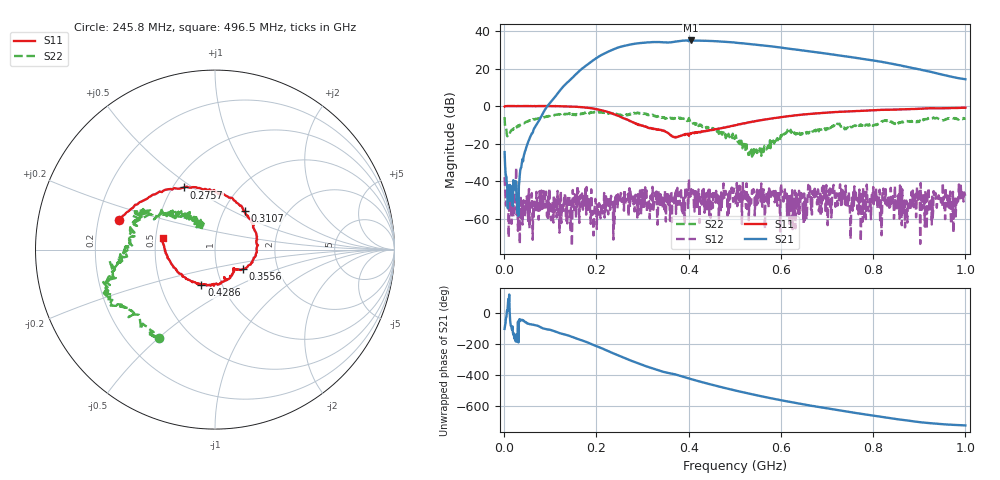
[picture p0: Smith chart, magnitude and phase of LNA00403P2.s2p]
! Created with skrf 1.9.0 (http://scikit-rf.org).
# Hz S RI R 50.0
!freq ReS11 ImS11 ReS21 ImS21 ReS12 ImS12 ReS22 ImS22
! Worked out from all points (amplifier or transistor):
!   1001 points, 1 MHz to 1 GHz, reference 50 ohm
!   highest |S21| = 34.9 dB at 404.6 MHz (marker M1)
!   |S21| within 3 dB of that: 258.7 MHz to 573.8 MHz (315.1 MHz wide, 75.7 % of centre)
!   unconditionally stable (mu >= 1): 189.5 MHz to 294.6 MHz; 321.8 MHz to 400.4 MHz; 400.7 MHz to end of sweep (the widest 3 of 43)
!   at 166.8 MHz: K = 1.88, MAG = 31.1 dB, |S12| = -53.4 dB
!   at 500.5 MHz: K = 2.36, MAG = 34.5 dB, |S12| = -48.2 dB
!   at 1 GHz: K = 3.95, MAG = 22.6 dB, |S12| = -48.7 dB
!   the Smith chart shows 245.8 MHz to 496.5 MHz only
!   S11 on the Smith chart (normalised r, x): 245.8 MHz: 0.29, +0.14; 275.7 MHz: 0.57, +0.46; 310.7 MHz: 1.26, +0.58; 355.6 MHz: 1.33, -0.30; 428.6 MHz: 0.80, -0.33; 496.5 MHz: 0.55, +0.08
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1000000  0.9751 -0.0112  -0.0129 -0.0582  -0.0125 0.0029  0.3821 0.3385
1.08892e8  0.5271 -0.8471  -0.7698 -1.492  -0.00153 -0.000259  0.4224 -0.3759
1.67833e8  -0.216 -0.9105  -9.66 -0.7525  0.00248 0.00159  0.041 -0.6352
2.11789e8  -0.679 -0.3727  -15.53 17.22  0.000206 0.00209  -0.215 -0.6301
2.45755e8  -0.5334 0.165  0.7813 35.66  0.00101 0.00161  -0.3116 -0.4898
2.75725e8  -0.1712 0.3465  27.27 34.75  -0.00328 0.00131  -0.5429 -0.3043
3.1069e8  0.1678 0.2134  47.89 11.88  0.00118 0.00273  -0.5582 -0.143
3.34666e8  0.2397 0.0253  49.87 -8.466  -0.00496 0.0025  -0.5276 -0.0255
3.55645e8  0.1563 -0.1093  44.42 -21.86  -0.00193 0.00141  -0.466 0.0722
3.78622e8  0.1041 -0.1169  39.8 -36.04  0.00171 0.00279  -0.4469 0.214
4.04596e8  0.036 -0.1788  23.28 -50.79  0.00338 -0.00113  -0.3405 0.1685
4.28572e8  -0.0755 -0.1983  4.968 -55.11  -0.000123 0.00238  -0.2193 0.2098
4.59541e8  -0.2143 -0.1132  -17.46 -50.4  0.00529 0.00165  -0.1486 0.1836
4.96504e8  -0.2909 0.0641  -35.4 -34.33  0.00239 -0.00151  -0.0872 0.1408
5.005e8  -0.2986 0.0836  -37.12 -32.43  0.00076 0.00381  -0.0789 0.1274
5.4046e8  -0.2454 0.2978  -42.39 -11.06  0.00496 -0.00368  -0.0432 0.029
5.88412e8  -0.0647 0.4805  -36.32 9.891  0.00489 -0.00252  -0.0848 -0.077
6.67333e8  0.3134 0.5396  -14.71 23.73  -0.000905 -0.000924  -0.2184 -0.0678
7.53247e8  0.6244 0.3751  3.383 19.69  0.00132 -0.00218  -0.2722 -0.0151
8.34166e8  0.7867 0.1429  9.977 9.648  -0.00041 -0.00213  -0.3947 0.00255
9.09091e8  0.851 -0.1074  8.669 2.234  -0.00167 0.00389  -0.377 0.1837
1e9  0.8167 -0.3872  5.18 -0.3656  -0.00261 -0.00256  -0.2918 0.3726
